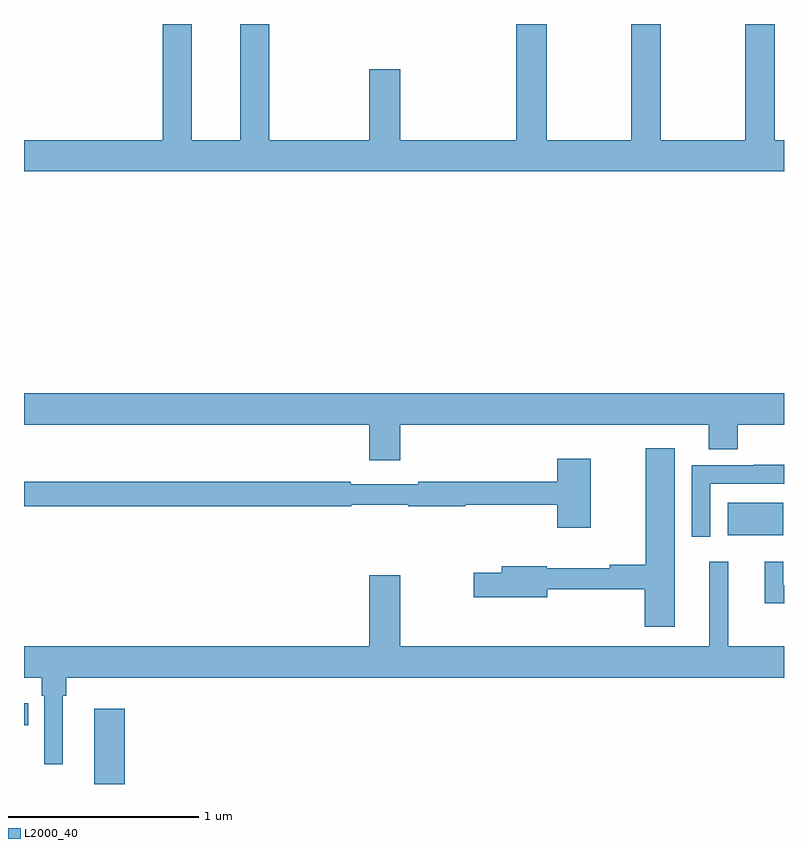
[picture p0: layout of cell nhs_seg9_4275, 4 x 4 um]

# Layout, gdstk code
import gdstk
lib = gdstk.Library(unit=1e-6, precision=1e-09)
def R(c, l, rs):  # rectangles x0, y0, x1, y1
    for r in rs: c.add(gdstk.rectangle(r[:2], r[2:], *l))
def P(c, l, *ps):  # polygons
    for p in ps: c.add(gdstk.Polygon(p, *l))
L2000_40 = (2000, 40)

nhs_seg9_4275 = lib.new_cell('nhs_seg9_4275')
R(nhs_seg9_4275, L2000_40, [(355.37,1222.5,355.529,1222.897), (355,1222.81,355.022,1222.926), (358.703,1223.81,358.996,1223.98)])
P(nhs_seg9_4275, L2000_40, [(359,1225.888),(358.95,1225.888),(358.95,1226.5),(358.795,1226.5),(358.795,1225.888),(358.35,1225.888),(358.35,1226.5),(358.195,1226.5),(358.195,1225.888),(357.75,1225.888),(357.75,1226.5),(357.59,1226.5),(357.59,1225.888),(356.98,1225.888),(356.98,1226.263),(356.816,1226.263),(356.816,1225.888),(356.291,1225.888),(356.291,1226.5),(356.138,1226.5),(356.138,1225.888),(355.882,1225.888),(355.882,1226.5),(355.73,1226.5),(355.73,1225.888),(355,1225.888),(355,1225.724),(359,1225.724)],
  [(356.98,1224.392),(358.604,1224.392),(358.604,1224.262),(358.757,1224.262),(358.757,1224.392),(359,1224.392),(359,1224.556),(355,1224.556),(355,1224.392),(356.816,1224.392),(356.816,1224.204),(356.98,1224.204)],
  [(358.426,1224.268),(358.273,1224.268),(358.273,1223.654),(358.084,1223.654),(358.084,1223.636),(357.75,1223.636),(357.75,1223.647),(357.515,1223.647),(357.515,1223.613),(357.366,1223.613),(357.366,1223.483),(357.754,1223.483),(357.754,1223.526),(358.268,1223.526),(358.268,1223.328),(358.426,1223.328)],
  [(357.984,1224.211),(357.806,1224.211),(357.806,1224.091),(357.076,1224.091),(357.076,1224.078),(356.72,1224.078),(356.72,1224.091),(355,1224.091),(355,1223.962),(356.722,1223.962),(356.722,1223.97),(357.022,1223.97),(357.022,1223.962),(357.322,1223.962),(357.322,1223.97),(357.806,1223.97),(357.806,1223.85),(357.984,1223.85)],
  [(358.611,1224.081),(359,1224.081),(359,1224.179),(358.84,1224.179),(358.84,1224.177),(358.515,1224.177),(358.515,1223.802),(358.611,1223.802)],
  [(359,1223.547),(358.995,1223.547),(358.995,1223.671),(358.898,1223.671),(358.898,1223.451),(359,1223.451)],
  [(355.204,1222.964),(355.223,1222.964),(355.223,1223.06),(359,1223.06),(359,1223.224),(358.706,1223.224),(358.706,1223.671),(358.607,1223.671),(358.607,1223.224),(356.98,1223.224),(356.98,1223.599),(356.816,1223.599),(356.816,1223.224),(355,1223.224),(355,1223.06),(355.094,1223.06),(355.094,1222.964),(355.107,1222.964),(355.107,1222.605),(355.204,1222.605)])

lib.write_gds('nhs_seg9_4275.gds')
